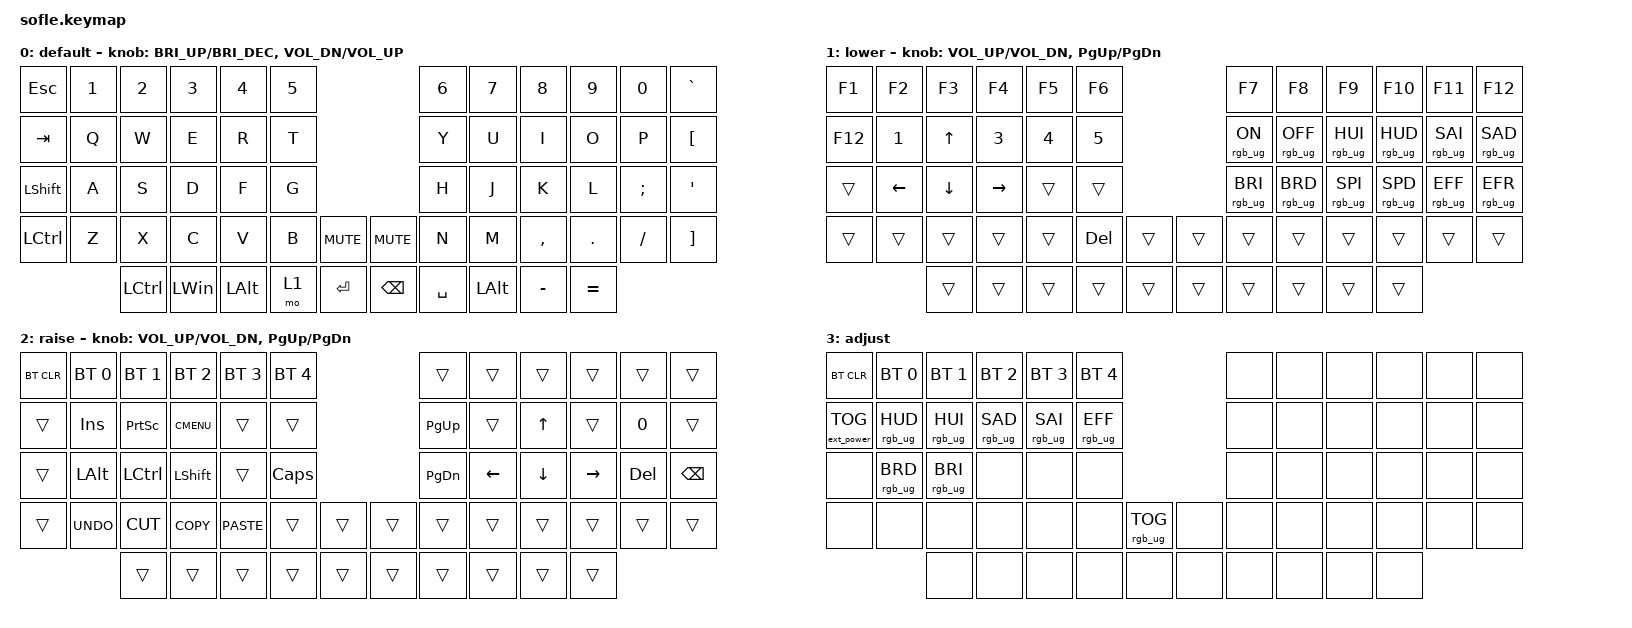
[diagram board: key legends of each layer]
/*
 * Copyright (c) 2020 The ZMK Contributors
 *
 * SPDX-License-Identifier: MIT
 */

#include <behaviors.dtsi>
#include <dt-bindings/zmk/bt.h>
#include <dt-bindings/zmk/ext_power.h>
#include <dt-bindings/zmk/keys.h>
#include <dt-bindings/zmk/rgb.h>

#define BASE 0
#define LOWER 1
#define RAISE 2
#define ADJUST 3

/ {
    // Activate ADJUST layer by pressing raise and lower

    conditional_layers {
        compatible = "zmk,conditional-layers";

        adjust_layer {
            if-layers = <LOWER RAISE>;
            then-layer = <ADJUST>;
        };
    };

    keymap {
        compatible = "zmk,keymap";

        default_layer {
            label = "default";

            // ------------------------------------------------------------------------------------------------------------
            // |   `   |  1  |  2  |  3   |  4   |  5   |                   |  6   |  7    |  8    |  9   |   0   |       |
            // |  ESC  |  Q  |  W  |  E   |  R   |  T   |                   |  Y   |  U    |  I    |  O   |   P   | BKSPC |
            // |  TAB  |  A  |  S  |  D   |  F   |  G   |                   |  H   |  J    |  K    |  L   |   ;   |   '   |
            // | SHIFT |  Z  |  X  |  C   |  V   |  B   |  MUTE  |  |       |  N   |  M    |  ,    |  .   |   /   | SHIFT |
            //               | GUI | ALT  | CTRL | LOWER|  ENTER |  | SPACE | RAISE| CTRL  | ALT   | GUI  |

            bindings = <
&kp ESC           &kp N1  &kp N2            &kp N3    &kp N4    &kp N5                               &kp N6     &kp N7        &kp N8     &kp N9     &kp N0    &kp GRAVE
&kp TAB           &kp Q   &kp W             &kp E     &kp R     &kp T                                &kp Y      &kp U         &kp I      &kp O      &kp P     &kp LEFT_BRACKET
&kp LSHFT         &kp A   &kp S             &kp D     &kp F     &kp G                                &kp H      &kp J         &kp K      &kp L      &kp SEMI  &kp SQT
&kp LEFT_CONTROL  &kp Z   &kp X             &kp C     &kp V     &kp B   &kp C_MUTE    &kp C_MUTE     &kp N      &kp M         &kp COMMA  &kp DOT    &kp FSLH  &kp RIGHT_BRACKET
                          &kp LEFT_CONTROL  &kp LWIN  &kp LALT  &mo 1   &kp ENTER     &kp BACKSPACE  &kp SPACE  &kp LEFT_ALT  &kp MINUS  &kp EQUAL
            >;

            sensor-bindings =
                <&inc_dec_kp C_BRI_UP C_BRI_DEC>,
                <&inc_dec_kp C_VOL_DN C_VOLUME_UP>;
        };

        lower_layer {
            label = "lower";

            // TODO: Some binds are waiting for shifted keycode support.
            // ------------------------------------------------------------------------------------------------------------
            // |       |  F1 |  F2 |  F3  |  F4  |  F5  |                   |  F6  |  F7   |  F8   |  F9  |  F10  |  F11  |
            // |   `   |  1  |  2  |  3   |  4   |  5   |                   |  6   |  7    |  8    |  9   |   0   |  F12  |
            // |       |  !  |  @  |  #   |  $   |  %   |                   |  ^   |  &    |  *    |  (   |   )   |   |   |
            // |       |  =  |  -  |  +   |  {   |  }   |        |  |       |  [   |  ]    |  ;    |  :   |   \   |       |
            //               |     |      |      |      |        |  |       |      |       |       |      |

            bindings = <
&kp F1   &kp F2    &kp F3    &kp F4     &kp F5  &kp F6                     &kp F7           &kp F8           &kp F9           &kp F10          &kp F11          &kp F12
&kp F12  &kp N1    &kp UP    &kp N3     &kp N4  &kp N5                     &rgb_ug RGB_ON   &rgb_ug RGB_OFF  &rgb_ug RGB_HUI  &rgb_ug RGB_HUD  &rgb_ug RGB_SAI  &rgb_ug RGB_SAD
&trans   &kp LEFT  &kp DOWN  &kp RIGHT  &trans  &trans                     &rgb_ug RGB_BRI  &rgb_ug RGB_BRD  &rgb_ug RGB_SPI  &rgb_ug RGB_SPD  &rgb_ug RGB_EFF  &rgb_ug RGB_EFR
&trans   &trans    &trans    &trans     &trans  &kp DEL  &trans    &trans  &trans           &trans           &trans           &trans           &trans           &trans
                   &trans    &trans     &trans  &trans   &trans    &trans  &trans           &trans           &trans           &trans
            >;

            sensor-bindings = <&inc_dec_kp C_VOL_UP C_VOL_DN &inc_dec_kp PG_UP PG_DN>;
        };

        raise_layer {
            label = "raise";

            // ------------------------------------------------------------------------------------------------------------
            // | BTCLR | BT1  | BT2  |  BT3  |  BT4  |  BT5 |                |      |      |       |      |       |       |
            // |       | INS  | PSCR | GUI   |       |      |                | PGUP |      |   ^   |      |       |       |
            // |       | ALT  | CTRL | SHIFT |       | CAPS |                | PGDN |   <- |   v   |  ->  |  DEL  | BKSPC |
            // |       | UNDO | CUT  | COPY  | PASTE |      |      |  |      |      |      |       |      |       |       |
            //                |      |       |       |      |      |  |      |      |      |       |      |

            bindings = <
&bt BT_CLR  &bt BT_SEL 0  &bt BT_SEL 1  &bt BT_SEL 2  &bt BT_SEL 3  &bt BT_SEL 4                    &trans     &trans    &trans    &trans     &trans   &trans
&trans      &kp INS       &kp PSCRN     &kp K_CMENU   &trans        &trans                          &kp PG_UP  &trans    &kp UP    &trans     &kp N0   &trans
&trans      &kp LALT      &kp LCTRL     &kp LSHFT     &trans        &kp CLCK                        &kp PG_DN  &kp LEFT  &kp DOWN  &kp RIGHT  &kp DEL  &kp BSPC
&trans      &kp K_UNDO    &kp K_CUT     &kp K_COPY    &kp K_PASTE   &trans        &trans    &trans  &trans     &trans    &trans    &trans     &trans   &trans
                          &trans        &trans        &trans        &trans        &trans    &trans  &trans     &trans    &trans    &trans
            >;

            sensor-bindings = <&inc_dec_kp C_VOL_UP C_VOL_DN &inc_dec_kp PG_UP PG_DN>;
        };

        adjust_layer {
            // ----------------------------------------------------------------------------------------------------------------------------
            // | BTCLR  |  BT1    |  BT2    |   BT3   |   BT4   |   BT5   |                  |      |      |       |      |       |       |
            // | EXTPWR | RGB_HUD | RGB_HUI | RGB_SAD | RGB_SAI | RGB_EFF |                  |      |      |       |      |       |       |
            // |        | RGB_BRD | RGB_BRI |         |         |         |                  |      |      |       |      |       |       |
            // |        |         |         |         |         |         | RGB_TOG | |      |      |      |       |      |       |       |
            //                    |         |         |         |         |         | |      |      |      |       |      |

            label = "adjust";
            bindings = <
&bt BT_CLR         &bt BT_SEL 0     &bt BT_SEL 1     &bt BT_SEL 2     &bt BT_SEL 3     &bt BT_SEL 4                               &none  &none  &none  &none  &none  &none
&ext_power EP_TOG  &rgb_ug RGB_HUD  &rgb_ug RGB_HUI  &rgb_ug RGB_SAD  &rgb_ug RGB_SAI  &rgb_ug RGB_EFF                            &none  &none  &none  &none  &none  &none
&none              &rgb_ug RGB_BRD  &rgb_ug RGB_BRI  &none            &none            &none                                      &none  &none  &none  &none  &none  &none
&none              &none            &none            &none            &none            &none            &rgb_ug RGB_TOG    &none  &none  &none  &none  &none  &none  &none
                                    &none            &none            &none            &none            &none              &none  &none  &none  &none  &none
            >;
        };
    };
};
